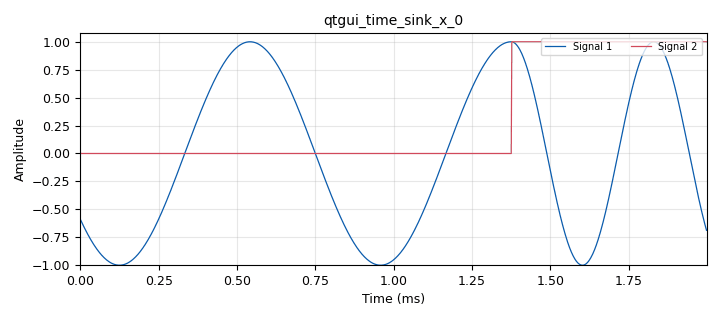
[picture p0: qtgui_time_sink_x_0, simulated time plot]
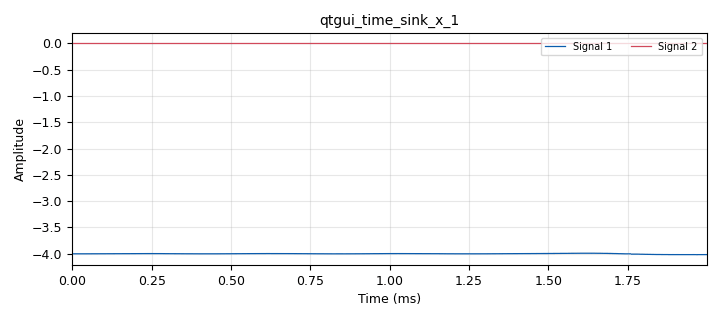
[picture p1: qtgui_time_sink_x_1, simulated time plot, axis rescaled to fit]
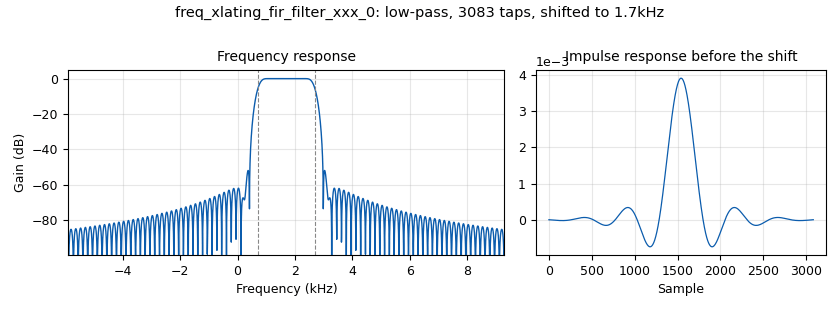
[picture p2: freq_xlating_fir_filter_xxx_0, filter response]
options:
  parameters:
    author: FSK_ang.pdf
    generate_options: qt_gui
    id: FSK
    output_language: python
    title: FSK modulation
  states: {}

blocks:
- name: filter_taps
  id: variable
  parameters:
    value: firdes.low_pass(1.0,samp_rate,fsk_deviation_hz,400)
  states: {}
- name: fm
  id: variable_qtgui_range
  parameters:
    orient: Qt.Horizontal
    start: '5'
    step: '1'
    stop: '1000'
    value: '50'
  states: {}
- name: fsk_deviation_hz
  id: variable
  parameters:
    value: highF-lowF
  states: {}
- name: highF
  id: variable_qtgui_range
  parameters:
    orient: Qt.Horizontal
    start: '1000'
    step: '1'
    stop: '100000'
    value: '2200'
  states: {}
- name: lowF
  id: variable_qtgui_range
  parameters:
    orient: Qt.Horizontal
    start: '1000'
    step: '1'
    stop: '100000'
    value: '1200'
  states: {}
- name: noise
  id: variable_qtgui_range
  parameters:
    label: noise level in [mV]
    orient: Qt.Horizontal
    start: '0'
    step: '1e-3'
    stop: '1'
    value: '0'
  states: {}
- name: samp_rate
  id: variable
  parameters:
    value: '512000'
  states: {}
- name: analog_quadrature_demod_cf_0
  id: analog_quadrature_demod_cf
  parameters:
    gain: samp_rate/(2*math.pi*fsk_deviation_hz/8.0)
  states: {}
- name: analog_sig_source_x_0
  id: analog_sig_source_x
  parameters:
    amp: '1'
    freq: fm
    offset: '0'
    phase: '0'
    samp_rate: samp_rate
    type: short
    waveform: analog.GR_SQR_WAVE
  states: {}
- name: analog_sig_source_x_1
  id: analog_sig_source_x
  parameters:
    amp: '1'
    freq: lowF
    offset: '0'
    phase: '0'
    samp_rate: samp_rate
    type: float
    waveform: analog.GR_COS_WAVE
  states: {}
- name: analog_sig_source_x_1_0
  id: analog_sig_source_x
  parameters:
    amp: '1'
    freq: highF
    offset: '0'
    phase: '0'
    samp_rate: samp_rate
    type: float
    waveform: analog.GR_COS_WAVE
  states: {}
- name: blocks_add_const_vxx_0
  id: blocks_add_const_vxx
  parameters:
    const: '2'
    type: short
  states: {}
- name: blocks_add_xx_0
  id: blocks_add_xx
  parameters:
    type: float
  states: {}
- name: blocks_char_to_float_0
  id: blocks_char_to_float
  parameters:
    scale: '1'
  states: {}
- name: blocks_float_to_complex_1
  id: blocks_float_to_complex
  parameters: {}
  states: {}
- name: blocks_multiply_xx_0
  id: blocks_multiply_xx
  parameters:
    type: float
  states: {}
- name: blocks_multiply_xx_0_0
  id: blocks_multiply_xx
  parameters:
    type: float
  states: {}
- name: blocks_not_xx_0
  id: blocks_not_xx
  parameters:
    type: short
  states: {}
- name: blocks_short_to_float_0
  id: blocks_short_to_float
  parameters:
    scale: '1'
  states: {}
- name: blocks_short_to_float_0_0
  id: blocks_short_to_float
  parameters:
    scale: '1'
  states: {}
- name: blocks_throttle_0
  id: blocks_throttle
  parameters:
    samples_per_second: samp_rate
    type: short
  states: {}
- name: blocks_throttle_1
  id: blocks_throttle
  parameters:
    samples_per_second: samp_rate
    type: float
  states: {}
- name: channels_channel_model_0
  id: channels_channel_model
  parameters:
    epsilon: '1.0'
    freq_offset: '0.0'
    noise_voltage: noise
    seed: '0'
    taps: 1.0 + 1.0j
  states: {}
- name: digital_binary_slicer_fb_0
  id: digital_binary_slicer_fb
  parameters: {}
  states: {}
- name: freq_xlating_fir_filter_xxx_0
  id: freq_xlating_fir_filter_xxx
  parameters:
    center_freq: (lowF+highF)/2
    decim: '1'
    samp_rate: samp_rate
    taps: filter_taps
    type: ccf
  states: {}
- name: qtgui_time_sink_x_0
  id: qtgui_time_sink_x
  parameters:
    ctrlpanel: 'True'
    nconnections: '2'
    size: '1024'
    srate: samp_rate
    type: float
  states: {}
- name: qtgui_time_sink_x_1
  id: qtgui_time_sink_x
  parameters:
    ctrlpanel: 'True'
    nconnections: '2'
    size: '1024'
    srate: samp_rate
    type: float
  states: {}

connections:
- [analog_quadrature_demod_cf_0, '0', digital_binary_slicer_fb_0, '0']
- [analog_quadrature_demod_cf_0, '0', qtgui_time_sink_x_1, '0']
- [analog_sig_source_x_0, '0', blocks_throttle_0, '0']
- [analog_sig_source_x_1, '0', blocks_multiply_xx_0, '1']
- [analog_sig_source_x_1_0, '0', blocks_multiply_xx_0_0, '0']
- [blocks_add_const_vxx_0, '0', blocks_short_to_float_0_0, '0']
- [blocks_add_xx_0, '0', blocks_throttle_1, '0']
- [blocks_char_to_float_0, '0', qtgui_time_sink_x_1, '1']
- [blocks_float_to_complex_1, '0', channels_channel_model_0, '0']
- [blocks_multiply_xx_0, '0', blocks_add_xx_0, '0']
- [blocks_multiply_xx_0_0, '0', blocks_add_xx_0, '1']
- [blocks_not_xx_0, '0', blocks_add_const_vxx_0, '0']
- [blocks_short_to_float_0, '0', blocks_multiply_xx_0_0, '1']
- [blocks_short_to_float_0, '0', qtgui_time_sink_x_0, '1']
- [blocks_short_to_float_0_0, '0', blocks_multiply_xx_0, '0']
- [blocks_throttle_0, '0', blocks_not_xx_0, '0']
- [blocks_throttle_0, '0', blocks_short_to_float_0, '0']
- [blocks_throttle_1, '0', blocks_float_to_complex_1, '0']
- [blocks_throttle_1, '0', qtgui_time_sink_x_0, '0']
- [channels_channel_model_0, '0', freq_xlating_fir_filter_xxx_0, '0']
- [digital_binary_slicer_fb_0, '0', blocks_char_to_float_0, '0']
- [freq_xlating_fir_filter_xxx_0, '0', analog_quadrature_demod_cf_0, '0']

metadata:
  file_format: 1
